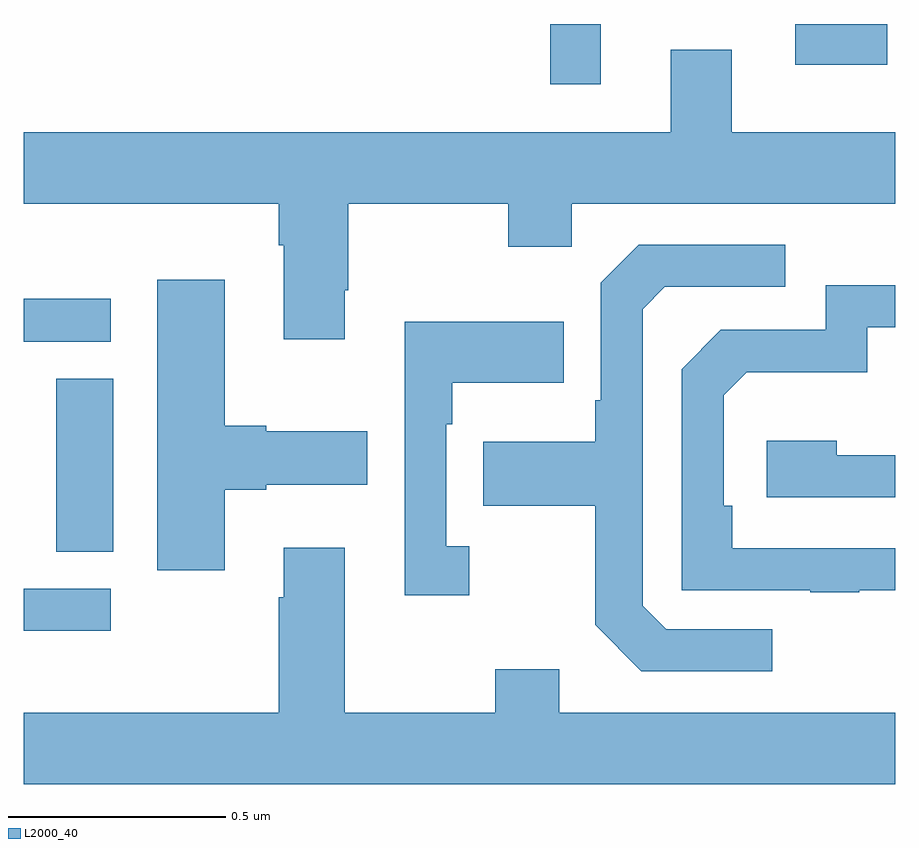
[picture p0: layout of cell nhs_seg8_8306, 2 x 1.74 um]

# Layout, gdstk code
import gdstk
lib = gdstk.Library(unit=1e-6, precision=1e-09)
def R(c, l, rs):  # rectangles x0, y0, x1, y1
    for r in rs: c.add(gdstk.rectangle(r[:2], r[2:], *l))
def P(c, l, *ps):  # polygons
    for p in ps: c.add(gdstk.Polygon(p, *l))
L2000_40 = (2000, 40)

nhs_seg8_8306 = lib.new_cell('nhs_seg8_8306')
R(nhs_seg8_8306, L2000_40, [(221,1127.508,221.2,1127.604), (221.075,1127.689,221.206,1128.086), (221,1128.171,221.2,1128.27), (222.208,1128.762,222.324,1128.9), (222.77,1128.806,222.982,1128.9)])
P(nhs_seg8_8306, L2000_40, [(221.737,1128.289),(221.745,1128.289),(221.745,1128.488),(222.112,1128.488),(222.112,1128.389),(222.258,1128.389),(222.258,1128.488),(223,1128.488),(223,1128.652),(222.625,1128.652),(222.625,1128.841),(222.485,1128.841),(222.485,1128.652),(221,1128.652),(221,1128.488),(221.585,1128.488),(221.585,1128.392),(221.597,1128.392),(221.597,1128.177),(221.737,1128.177)],
  [(222.718,1127.511),(222.474,1127.511),(222.42,1127.565),(222.42,1128.246),(222.471,1128.297),(222.748,1128.297),(222.748,1128.393),(222.411,1128.393),(222.324,1128.306),(222.324,1128.037),(222.312,1128.037),(222.312,1127.941),(222.055,1127.941),(222.055,1127.794),(222.312,1127.794),(222.312,1127.521),(222.417,1127.415),(222.718,1127.415)],
  [(221.461,1127.831),(221.557,1127.831),(221.557,1127.843),(221.788,1127.843),(221.788,1127.965),(221.557,1127.965),(221.557,1127.978),(221.461,1127.978),(221.461,1128.313),(221.306,1128.313),(221.306,1127.646),(221.461,1127.646)],
  [(222.917,1127.601),(223,1127.601),(223,1127.697),(222.626,1127.697),(222.626,1127.794),(222.606,1127.794),(222.606,1128.048),(222.659,1128.101),(222.936,1128.101),(222.936,1128.204),(223,1128.204),(223,1128.3),(222.84,1128.3),(222.84,1128.198),(222.6,1128.198),(222.51,1128.108),(222.51,1127.601),(222.805,1127.601),(222.805,1127.596),(222.917,1127.596)],
  [(222.022,1127.702),(221.97,1127.702),(221.97,1127.981),(221.983,1127.981),(221.983,1128.077),(222.239,1128.077),(222.239,1128.217),(221.874,1128.217),(221.874,1127.589),(222.022,1127.589)],
  [(223,1127.91),(222.866,1127.91),(222.866,1127.944),(222.705,1127.944),(222.705,1127.814),(223,1127.814)],
  [(223,1127.32),(222.229,1127.32),(222.229,1127.419),(222.082,1127.419),(222.082,1127.32),(221.737,1127.32),(221.737,1127.698),(221.597,1127.698),(221.597,1127.585),(221.585,1127.585),(221.585,1127.32),(221,1127.32),(221,1127.156),(223,1127.156)])

lib.write_gds('nhs_seg8_8306.gds')
